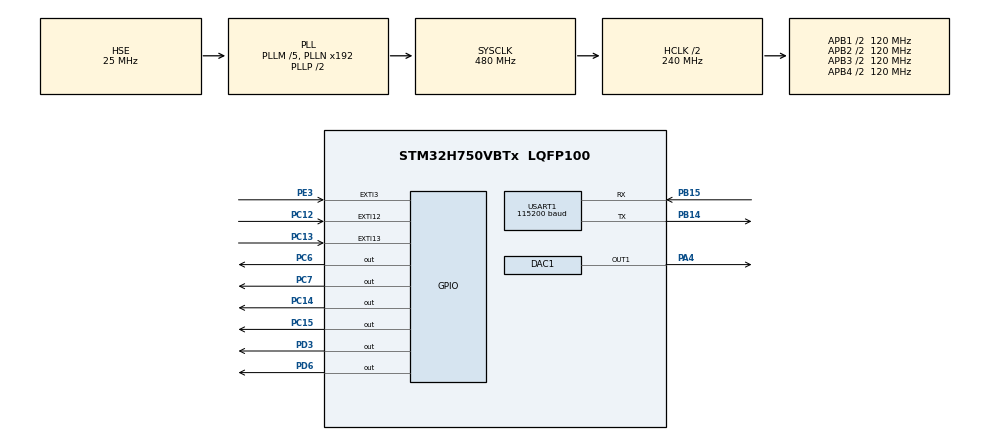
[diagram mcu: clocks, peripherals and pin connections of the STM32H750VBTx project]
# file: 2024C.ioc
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DAC1.DAC_Channel-DAC_OUT1=DAC_CHANNEL_1
LPTIM1.ClockPrescaler=LPTIM_PRESCALER_DIV128
LPTIM2.ClockPrescaler=LPTIM_PRESCALER_DIV128
Mcu.Family=STM32H7
Mcu.Name=STM32H750VBTx
Mcu.Package=LQFP100
NVIC.EXTI15_10_IRQn=true\:15\:0\:true\:false\:true\:true\:true\:true
NVIC.EXTI3_IRQn=true\:15\:0\:true\:false\:true\:true\:true\:true
NVIC.PriorityGroup=NVIC_PRIORITYGROUP_4
PA4.Signal=COMP_DAC11_group
PB14.Mode=Asynchronous
PB14.Signal=USART1_TX
PB15.Mode=Asynchronous
PB15.Signal=USART1_RX
PC12.GPIO_ModeDefaultEXTI=GPIO_MODE_IT_FALLING
PC12.Signal=GPXTI12
PC13.GPIO_ModeDefaultEXTI=GPIO_MODE_IT_FALLING
PC13.Signal=GPXTI13
PC14-OSC32_IN\ (OSC32_IN).Signal=GPIO_Output
PC15-OSC32_OUT\ (OSC32_OUT).Signal=GPIO_Output
PC6.Signal=GPIO_Output
PC7.Signal=GPIO_Output
PD3.Signal=GPIO_Output
PD6.Signal=GPIO_Output
PE3.GPIO_ModeDefaultEXTI=GPIO_MODE_IT_FALLING
PE3.Signal=GPXTI3
PH0-OSC_IN\ (PH0).Mode=HSE-External-Oscillator
PH0-OSC_IN\ (PH0).Signal=RCC_OSC_IN
PH1-OSC_OUT\ (PH1).Mode=HSE-External-Oscillator
PH1-OSC_OUT\ (PH1).Signal=RCC_OSC_OUT
ProjectManager.HeapSize=0x1000
ProjectManager.StackSize=0x20000
ProjectManager.TargetToolchain=MDK-ARM V5
RCC.ADCCLockSelection=RCC_ADCCLKSOURCE_PLL3
RCC.ADCFreq_Value=51200000
RCC.APB1Freq_Value=120000000
RCC.APB2Freq_Value=120000000
RCC.APB3Freq_Value=120000000
RCC.APB4Freq_Value=120000000
RCC.CKPERSourceSelection=RCC_CLKPSOURCE_CSI
RCC.CortexFreq_Value=480000000
RCC.D1PPRE=RCC_APB3_DIV2
RCC.D2PPRE1=RCC_APB1_DIV2
RCC.D2PPRE2=RCC_APB2_DIV2
RCC.D3PPRE=RCC_APB4_DIV2
RCC.DIVM1=5
RCC.DIVM2=25
RCC.DIVM3=25
RCC.DIVN1=192
RCC.DIVN2=240
RCC.DIVN3=256
RCC.DIVP3=10
RCC.DIVQ3=10
RCC.DIVR3=5
RCC.HCLKFreq_Value=240000000
RCC.HPRE=RCC_HCLK_DIV2
RCC.HRTIMCLockSelection=RCC_HRTIM1CLK_CPUCLK
RCC.LPTIM1CLockSelection=RCC_LPTIM1CLKSOURCE_CLKP
RCC.PLL2FRACN=0
RCC.PLL3FRACN=0
RCC.PLLFRACN=0
RCC.PLLSourceVirtual=RCC_PLLSOURCE_HSE
RCC.ProductRev=revV
RCC.SPI123CLockSelection=RCC_SPI123CLKSOURCE_PLL2
RCC.SYSCLKFreq_VALUE=480000000
RCC.SYSCLKSource=RCC_SYSCLKSOURCE_PLLCLK
RCC.USBFreq_Value=480000000
SH.COMP_DAC11_group.0=DAC1_OUT1,DAC_OUT1
TIM4.Prescaler=239
USART1.BaudRate=115200
USART1.Mode=MODE_TX
USART1.VirtualMode-Asynchronous=VM_ASYNC
VP_LPTIM1_VS_LPTIM_counterModeInternalClock.Mode=Counts__internal_clock_event_00
VP_LPTIM2_VS_LPTIM_counterModeInternalClock.Mode=Counts__internal_clock_event_00
VP_TIM4_VS_ClockSourceINT.Mode=Internal
VP_VREFBUF_V_VREFBUF.Mode=ExternalMode
board=custom

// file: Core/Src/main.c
/* USER CODE BEGIN Header */
/**
  ******************************************************************************
  * @file           : main.c
  * @brief          : Main program body
  ******************************************************************************
  * @attention
  *
  * Copyright (c) 2024 STMicroelectronics.
  * All rights reserved.
  *
  * This software is licensed under terms that can be found in the LICENSE file
  * in the root directory of this software component.
  * If no LICENSE file comes with this software, it is provided AS-IS.
  *
  ******************************************************************************
  */
/* USER CODE END Header */
#include "main.h"
#include "dac.h"
#include "lptim.h"
#include "tim.h"
#include "usart.h"
#include "gpio.h"

/* USER CODE BEGIN Includes */
#include "AD9959.h"
#include "HMC472.h"
#include "debug.h"
#include "ch455.h"
#include "delay.h"
/* USER CODE END Includes */

/* USER CODE BEGIN PTD */

#define PI 3.1415926535

// CW用下面这个数组
uint32_t vamp_L[11][10] = { {91,182,273,364,455,550,637,728,818,906}, //30MHz,vamp_L_f_i = 0
													 {90,182,272,363,454,545,634,724,813,903}, //31MHz,vamp_L_f_i = 1
												   {90,180,272,363,453,541,632,720,808,897}, //32MHz,vamp_L_f_i = 2
												   {90,180,272,360,451,532,625,716,806,896}, //33MHz,vamp_L_f_i = 3
													 {90,180,270,360,451,533,622,715,805,893}, //34MHz,vamp_L_f_i = 4
													 {90,180,270,360,449,533,622,712,802,892}, //35MHz,vamp_L_f_i = 5
													 {90,180,270,360,450,534,621,714,801,892}, //36MHz,vamp_L_f_i = 6
													 {90,181,271,361,451,534,621,712,801,892}, //37MHz,vamp_L_f_i = 7
													 {91,182,273,360,451,533,621,713,801,892}, //38MHz,vamp_L_f_i = 8
													 {91,183,275,360,450,533,621,713,801,892}, //39MHz,vamp_L_f_i = 9
													 {92,185,277,360,450,533,621,713,801,892}, //40MHz,vamp_L_f_i = 10
};
// 除了CW，都用下面这个数组
uint32_t vamp_L_hmc[11][10] = { {91,182,273,364,455,536,625,714,750,800}, //30MHz,vamp_L_f_i = 0
													 {90,182,272,362,454,534,622,710,750,800}, //31MHz,vamp_L_f_i = 1
												   {90,180,270,361,452,532,620,708,750,800}, //32MHz,vamp_L_f_i = 2
												   {90,180,269,360,451,530,619,706,750,800}, //33MHz,vamp_L_f_i = 3
													 {90,180,270,360,450,530,618,705,750,800}, //34MHz,vamp_L_f_i = 4
													 {90,180,270,360,450,530,618,705,750,800}, //35MHz,vamp_L_f_i = 5
													 {90,180,270,361,451,531,619,707,750,800}, //36MHz,vamp_L_f_i = 6
													 {90,181,271,362,453,533,621,710,750,800}, //37MHz,vamp_L_f_i = 7
													 {91,182,273,364,455,536,625,713,750,800}, //38MHz,vamp_L_f_i = 8
													 {91,183,275,367,458,540,630,719,750,800}, //39MHz,vamp_L_f_i = 9
													 {92,185,277,370,463,545,635,726,750,800}, //40MHz,vamp_L_f_i = 10
};
uint8_t vamp_L_f_i = 0; // 默认是30MHz
uint8_t vamp_L_i = 0;

uint32_t f_L = 30000000;

uint8_t deg[7] = {40,70,101,131,162,193,225}; // 40
//uint8_t deg[7] = {0,30,60,90,120,150,180}; //
uint8_t deg_i = 0;
uint8_t init_flag = 0;
uint8_t init_flag_delay = 0;

uint16_t attenuation = 0;
uint16_t attenuation_hmc= 0;
uint8_t  attenuation_real[11] = {0,2,4,6,8,10,12,14,16,18,20}; // 对应显示0db-20db衰减
uint8_t  attenuation_real_maxvamp[11] = {0,1,3,5,7,9,11,13,15,17,19}; // 最大有效值对应的数组
// 调试范围是0-31

uint8_t time_delay[7] = {0,78,111,139,167,195,222}; // ns级单位
uint8_t time_delay_i = 0;

//float adjust[7] = {0.45f,0.5f,0.6f,0.7f,0.85f,0.95f,1.1f};
float adjust[7] = {0.4f,0.45f,0.55f,0.65f,0.8f,0.9f,1.05f};
uint8_t adjust_i = 0;

float vp_B = 0.27f; // 峰值
#define VP_B 0.27f
#define DAC_VOLTAGE_DEFAULT 0.9f // vp_B / 0.3, max
uint16_t vamp_A_1 = 955.6667f * VP_B; // output1
uint16_t vamp_A_2 = 963.3333f * VP_B; //  output3
float dac_voltage = DAC_VOLTAGE_DEFAULT;
uint32_t dac_value = (uint32_t)(DAC_VOLTAGE_DEFAULT/3.3f*4095.0f); //dac code

float vamp_L_2_scale = 1.1667f;
uint32_t vamp_L_2 = 114;

float w_s_ns = 0; // 调制信号频率2MHz
float w_c_ns = 0;
uint32_t delay_phi_s = 0; // 以度为单位
uint32_t delay_phi_c = 0;

extern uint16_t CH455_KEY_RX_FLAG; //键盘接收状态标记
extern uint8_t CH455_KEY_NUM;			//按下键盘的值

uint8_t mode = 1; // 1是加法模式，0是减法模式，2是CW测量模式

/* USER CODE END PTD */

void SystemClock_Config(void);
void PeriphCommonClock_Config(void);

/* USER CODE BEGIN 0 */

uint32_t normalize_angle(uint32_t angle) {
    // 将角度限制在0到360之间
    angle = angle % 360;
    // 如果角度为负值，加360使其为正
    return angle;
}

void HAL_GPIO_EXTI_Callback(uint16_t GPIO_Pin){

		//注意要调整中断优先级使SYSTICK的高于按键中断
		HAL_Delay(50); //延时实现消抖，但在复杂程序不建议在中断中使用延时函数

		if (GPIO_Pin == GPIO_PIN_12){	// 判断中断来自于PC12管脚
				//判断PC12被按下
				if (GPIO_PIN_RESET == HAL_GPIO_ReadPin(GPIOC, GPIO_PIN_12)){
					HAL_GPIO_WritePin(GPIOD, GPIO_PIN_6, GPIO_PIN_SET);
					HAL_GPIO_WritePin(GPIOD, GPIO_PIN_3, GPIO_PIN_RESET);
					mode = 0;
					printf("t12.txt=\"- mode \"\xff\xff\xff");
				}
		}
		else if (GPIO_Pin == GPIO_PIN_3){	// 判断中断来自于PE3管脚
				if (GPIO_PIN_RESET == HAL_GPIO_ReadPin(GPIOC, GPIO_PIN_3)){
					HAL_GPIO_WritePin(GPIOD, GPIO_PIN_6, GPIO_PIN_RESET);
					HAL_GPIO_WritePin(GPIOD, GPIO_PIN_3, GPIO_PIN_SET);
					mode = 1;
					printf("t12.txt=\"+ mode \"\xff\xff\xff");
				}
		}
		else if (GPIO_Pin == GPIO_PIN_13){

			CH455_KEY_RX_FLAG = 1;

			CH455_KEY_NUM = CH455_Key_Read();

			if (CH455_KEY_NUM == 0){ // 调节RMS
				if (mode == 0){ // 减法模式
					HAL_GPIO_WritePin(GPIOD, GPIO_PIN_6, GPIO_PIN_RESET);
					HAL_Delay(100);
					HAL_GPIO_WritePin(GPIOD, GPIO_PIN_6, GPIO_PIN_SET);
					if(vamp_L_i - 1 > 0){
						vamp_L_i = vamp_L_i - 1;
					}
					else if(vamp_L_i == 0){
						vamp_L_i = 9;
					}
					else{
						vamp_L_i = 0;
					}
				}
				if (mode == 1 || mode == 2){ // 加法模式
					HAL_GPIO_WritePin(GPIOD, GPIO_PIN_3, GPIO_PIN_RESET);
					HAL_Delay(100);
					HAL_GPIO_WritePin(GPIOD, GPIO_PIN_3, GPIO_PIN_SET);
					if(vamp_L_i + 1 < 9){
						vamp_L_i = vamp_L_i + 1;
					}
					else if(vamp_L_i == 9){
						vamp_L_i = 0;
					}
					else{
						vamp_L_i = 9;
					}
				}
				if (mode != 2){
					vamp_L_2 = vamp_L_hmc[vamp_L_f_i][vamp_L_i] * vamp_L_2_scale;
					if (vamp_L_2 > 1022) {AD9959_SetAmp4Channel(vamp_L_hmc[vamp_L_f_i][vamp_L_i],vamp_A_1,1023,vamp_A_2);}
					else {AD9959_SetAmp4Channel(vamp_L_hmc[vamp_L_f_i][vamp_L_i],vamp_A_1,vamp_L_2,vamp_A_2);}
				}
				else{
					vamp_L_2 = vamp_L[vamp_L_f_i][vamp_L_i] * vamp_L_2_scale;
					if (vamp_L_2 > 1022) {AD9959_SetAmp4Channel(vamp_L[vamp_L_f_i][vamp_L_i],vamp_A_1,1023,vamp_A_2);}
					else {AD9959_SetAmp4Channel(vamp_L[vamp_L_f_i][vamp_L_i],vamp_A_1,vamp_L_2,vamp_A_2);}
				}
				printf("t6.txt=\"%d mV\"\xff\xff\xff",(vamp_L_i+1)*100);
			}
			if (CH455_KEY_NUM == 1){ // 调节调制，最好：500mV，30MHz
				if (mode == 0){ // 减法模式
					HAL_GPIO_WritePin(GPIOD, GPIO_PIN_6, GPIO_PIN_RESET);
					HAL_Delay(100);
					HAL_GPIO_WritePin(GPIOD, GPIO_PIN_6, GPIO_PIN_SET);
					if(adjust_i - 1 > 0){
						adjust_i = adjust_i - 1;
					}
					else if(adjust_i == 0){
						adjust_i = 6;
					}
					else{
						adjust_i = 0;
					}
				}
				if (mode == 1){ // 加法模式
					HAL_GPIO_WritePin(GPIOD, GPIO_PIN_3, GPIO_PIN_RESET);
					HAL_Delay(100);
					HAL_GPIO_WritePin(GPIOD, GPIO_PIN_3, GPIO_PIN_SET);
					if(adjust_i + 1 < 6){
						adjust_i = adjust_i + 1;
					}
					else if(adjust_i == 6){
						adjust_i = 0;
					}
					else{
						adjust_i = 6;
					}
				}
				dac_voltage = vp_B / adjust[adjust_i];
				if (dac_voltage > 3.3f) {dac_voltage = 3.3f;}
				dac_value = (uint32_t)(dac_voltage/3.3f*4095.0f);
				HAL_DAC_SetValue(&hdac1,DAC_CHANNEL_1,DAC_ALIGN_12B_R,dac_value);//channel 1 output

				printf("t7.txt=\"%d %% \"\xff\xff\xff",(adjust_i+3)*10);
			}
			if (CH455_KEY_NUM == 2){ // 调节频率
				if (mode == 0){ // 减法模式
					HAL_GPIO_WritePin(GPIOD, GPIO_PIN_6, GPIO_PIN_RESET);
					HAL_Delay(100);
					HAL_GPIO_WritePin(GPIOD, GPIO_PIN_6, GPIO_PIN_SET);
					if(f_L - 1000000 > 30000000){
						f_L = f_L - 1000000;
					}
					else if(f_L == 30000000){
						f_L = 40000000;
					}
					else{
						f_L = 30000000;
					}
				}
				if (mode == 1 || mode == 2){ // 加法模式
					HAL_GPIO_WritePin(GPIOD, GPIO_PIN_3, GPIO_PIN_RESET);
					HAL_Delay(100);
					HAL_GPIO_WritePin(GPIOD, GPIO_PIN_3, GPIO_PIN_SET);
					if(f_L + 1000000 < 40000000){
						f_L = f_L + 1000000;
					}
					else if(f_L == 40000000){
						f_L = 30000000;
					}
					else{
						f_L = 40000000;
					}
				}

				AD9959_SetFrequency4Channel(f_L,2000000,f_L,2000000);
				vamp_L_f_i = f_L/1000000 - 30;
				if (mode != 2){
					vamp_L_2 = vamp_L_hmc[vamp_L_f_i][vamp_L_i] * vamp_L_2_scale;
					if (vamp_L_2 > 1022) {AD9959_SetAmp4Channel(vamp_L_hmc[vamp_L_f_i][vamp_L_i],vamp_A_1,1023,vamp_A_2);}
					else {AD9959_SetAmp4Channel(vamp_L_hmc[vamp_L_f_i][vamp_L_i],vamp_A_1,vamp_L_2,vamp_A_2);}
				}
				else{
					vamp_L_2 = vamp_L[vamp_L_f_i][vamp_L_i] * vamp_L_2_scale;
					if (vamp_L_2 > 1022) {AD9959_SetAmp4Channel(vamp_L[vamp_L_f_i][vamp_L_i],vamp_A_1,1023,vamp_A_2);}
					else {AD9959_SetAmp4Channel(vamp_L[vamp_L_f_i][vamp_L_i],vamp_A_1,vamp_L_2,vamp_A_2);}
				}

				printf("t8.txt=\"%d MHz  \"\xff\xff\xff",f_L/1000000);
			}

			if (CH455_KEY_NUM == 3){ // 调节衰减db
				if (mode == 0){ // 减法模式
					HAL_GPIO_WritePin(GPIOD, GPIO_PIN_6, GPIO_PIN_RESET);
					HAL_Delay(100);
					HAL_GPIO_WritePin(GPIOD, GPIO_PIN_6, GPIO_PIN_SET);
					if(attenuation - 2 > 0){
						attenuation = attenuation - 2;
					}
					else if(attenuation == 0){
						attenuation = 20;
					}
					else{
						attenuation = 0;
					}
				}
				if (mode == 1){ // 加法模式
					HAL_GPIO_WritePin(GPIOD, GPIO_PIN_3, GPIO_PIN_RESET);
					HAL_Delay(100);
					HAL_GPIO_WritePin(GPIOD, GPIO_PIN_3, GPIO_PIN_SET);
					if(attenuation + 2 < 20){
						attenuation = attenuation + 2;
					}
					else if(attenuation == 20){
						attenuation = 0;
					}
					else{
						attenuation = 20;
					}
				}

				attenuation_hmc = attenuation_real[attenuation / 2] * 2;
				if(vamp_L_i == 9){attenuation_hmc = attenuation_real_maxvamp[attenuation / 2] * 2;}
				HMC472set(attenuation_hmc);

				printf("t9.txt=\"%d dB\"\xff\xff\xff",attenuation);
			}

			if (CH455_KEY_NUM == 4){ // 调节延迟
				if (mode == 0){ // 减法模式
					HAL_GPIO_WritePin(GPIOD, GPIO_PIN_6, GPIO_PIN_RESET);
					HAL_Delay(100);
					HAL_GPIO_WritePin(GPIOD, GPIO_PIN_6, GPIO_PIN_SET);
					if(time_delay_i > 0){
						time_delay_i = time_delay_i - 1;
					}
					else{
						time_delay_i = 6;
					}
				}
				if (mode == 1){ // 加法模式
					HAL_GPIO_WritePin(GPIOD, GPIO_PIN_3, GPIO_PIN_RESET);
					HAL_Delay(100);
					HAL_GPIO_WritePin(GPIOD, GPIO_PIN_3, GPIO_PIN_SET);
					if(time_delay_i < 6){
						time_delay_i = time_delay_i + 1;
					}
					else{
						time_delay_i = 0;
					}
				}
				w_s_ns = 2*2*0.001f; // 调制信号频率2MHz
				w_c_ns = 2*(f_L/1000000)*0.001f;
				delay_phi_s = w_s_ns * time_delay[time_delay_i] * 180; // 以度为单位
				delay_phi_c = w_c_ns * time_delay[time_delay_i] * 180;

				if (init_flag_delay){Init_AD9959();}

				delay_phi_s = normalize_angle(delay_phi_s);
				delay_phi_c = normalize_angle(delay_phi_c);

				AD9959_SetPhase4Channel(0,0,360-delay_phi_c,360-delay_phi_s);
				AD9959_SetFrequency4Channel(f_L,2000000,f_L,2000000);
				vamp_L_2 = vamp_L_hmc[vamp_L_f_i][vamp_L_i] * vamp_L_2_scale;
				if (vamp_L_2 > 1022) {AD9959_SetAmp4Channel(vamp_L_hmc[vamp_L_f_i][vamp_L_i],vamp_A_1,1023,vamp_A_2);}
				else {AD9959_SetAmp4Channel(vamp_L_hmc[vamp_L_f_i][vamp_L_i],vamp_A_1,vamp_L_2,vamp_A_2);}

				init_flag = 0;
				if (time_delay_i == 6){init_flag = 1;}

				if (time_delay_i == 0){printf("t10.txt=\"%d ns \"\xff\xff\xff",0);}
				else {printf("t10.txt=\"%d ns \"\xff\xff\xff",50+(time_delay_i-1)*30);}

			}

			if (CH455_KEY_NUM == 5){ // 调节相位
				if (mode == 0){ // 减法模式
					HAL_GPIO_WritePin(GPIOD, GPIO_PIN_6, GPIO_PIN_RESET);
					HAL_Delay(100);
					HAL_GPIO_WritePin(GPIOD, GPIO_PIN_6, GPIO_PIN_SET);
					if(deg_i - 1 > 0){
						deg_i = deg_i - 1;
					}
					else if(deg_i == 0){
						deg_i = 6;
					}
					else{
						deg_i = 0;
					}
				}
				if (mode == 1){ // 加法模式
					HAL_GPIO_WritePin(GPIOD, GPIO_PIN_3, GPIO_PIN_RESET);
					HAL_Delay(100);
					HAL_GPIO_WritePin(GPIOD, GPIO_PIN_3, GPIO_PIN_SET);
					if(deg_i + 1 < 6){
						deg_i = deg_i + 1;
					}
					else if(deg_i == 6){
						deg_i = 0;
					}
					else{
						deg_i = 6;
					}
				}

				if (init_flag){Init_AD9959();}

				AD9959_SetPhase4Channel(0,0,deg[deg_i],0);
				AD9959_SetFrequency4Channel(f_L,2000000,f_L,2000000);
				vamp_L_2 = vamp_L_hmc[vamp_L_f_i][vamp_L_i] * vamp_L_2_scale;
				if (vamp_L_2 > 1022) {AD9959_SetAmp4Channel(vamp_L_hmc[vamp_L_f_i][vamp_L_i],vamp_A_1,1023,vamp_A_2);}
				else {AD9959_SetAmp4Channel(vamp_L_hmc[vamp_L_f_i][vamp_L_i],vamp_A_1,vamp_L_2,vamp_A_2);}

				init_flag = 0;
				if (deg_i == 6){init_flag = 1;}

				printf("t11.txt=\"%d deg \"\xff\xff\xff",deg_i*30);
			}

			if (CH455_KEY_NUM == 15){ // 开启CW测量模式，直流偏置为2V
				uint8_t i;
				mode = 2;
				for (i = 0; i < 3; i++){
					HAL_GPIO_WritePin(GPIOD, GPIO_PIN_6, GPIO_PIN_SET);HAL_GPIO_WritePin(GPIOD, GPIO_PIN_3, GPIO_PIN_SET);
					HAL_Delay(100);
					HAL_GPIO_WritePin(GPIOD, GPIO_PIN_6, GPIO_PIN_RESET);HAL_GPIO_WritePin(GPIOD, GPIO_PIN_3, GPIO_PIN_RESET);
					HAL_Delay(100);
				}
				dac_voltage = 2.0f;
				dac_value = (uint32_t)(dac_voltage/3.3f*4095.0f);
				HAL_DAC_SetValue(&hdac1,DAC_CHANNEL_1,DAC_ALIGN_12B_R,dac_value);//channel 1 output

				vamp_A_1 = 0;
				AD9959_SetFrequency4Channel(f_L,2000000,f_L,2000000);
				vamp_L_f_i = f_L/1000000 - 30;
				vamp_L_2 = vamp_L[vamp_L_f_i][vamp_L_i] * vamp_L_2_scale;
				if (vamp_L_2 > 1022) {AD9959_SetAmp4Channel(vamp_L[vamp_L_f_i][vamp_L_i],vamp_A_1,1023,vamp_A_2);}
				else {AD9959_SetAmp4Channel(vamp_L[vamp_L_f_i][vamp_L_i],vamp_A_1,vamp_L_2,vamp_A_2);}

				printf("t12.txt=\"CW(+) mode \"\xff\xff\xff");
				printf("t6.txt=\"%d mV\"\xff\xff\xff",(vamp_L_i+1)*100);
				printf("t8.txt=\"%d MHz  \"\xff\xff\xff",f_L/1000000);
			}
//			__HAL_GPIO_EXTI_CLEAR_FLAG(GPIO_PIN_13);
		}
}

/* USER CODE END 0 */

int main(void)
{
	uint8_t i = 0;
  /* MCU Configuration--------------------------------------------------------*/

  /* Reset of all peripherals, Initializes the Flash interface and the Systick. */
  HAL_Init();

  /* Configure the system clock */
  SystemClock_Config();

/* Configure the peripherals common clocks */
  PeriphCommonClock_Config();

  /* Initialize all configured peripherals */
  MX_GPIO_Init();
  MX_USART1_UART_Init();
  MX_LPTIM1_Init();
  MX_LPTIM2_Init();
  MX_TIM4_Init();
  MX_DAC1_Init();
	HMC472_Init();
  /* USER CODE BEGIN 2 */
		for (int i = 0; i < 11; ++i) {
        for (int j = 0; j < 10; ++j) {
            vamp_L[i][j] = vamp_L[i][j] * 1.05f;
        }
    }
	HAL_DAC_Start(&hdac1,DAC_CHANNEL_1);//dac1 open
	HAL_DAC_SetValue(&hdac1,DAC_CHANNEL_1,DAC_ALIGN_12B_R,dac_value);//channel 1 output

	Init_AD9959();
	AD9959_SetPhase4Channel(0,0,deg[deg_i],0);
	AD9959_SetFrequency4Channel(f_L,2000000,f_L,2000000);
	vamp_L_2 = vamp_L_hmc[vamp_L_f_i][vamp_L_i] * vamp_L_2_scale;
	if (vamp_L_2 > 1022) {AD9959_SetAmp4Channel(vamp_L_hmc[vamp_L_f_i][vamp_L_i],vamp_A_1,1023,vamp_A_2);}
	else {AD9959_SetAmp4Channel(vamp_L_hmc[vamp_L_f_i][vamp_L_i],vamp_A_1,vamp_L_2,vamp_A_2);}

	if(vamp_L_i == 9){attenuation_hmc = attenuation_real_maxvamp[attenuation / 2] * 2;}
	attenuation_hmc = attenuation_real[attenuation / 2] * 2;
	HMC472set(attenuation_hmc);

	printf("t12.txt=\"+ mode \"\xff\xff\xff");
	printf("t6.txt=\"%d mV\"\xff\xff\xff",(vamp_L_i+1)*100);
	printf("t7.txt=\"%d %% \"\xff\xff\xff",(adjust_i+3)*10);
	printf("t8.txt=\"%d MHz  \"\xff\xff\xff",f_L/1000000);
	printf("t11.txt=\"%d deg \"\xff\xff\xff",deg_i*30);
	printf("t9.txt=\"%d dB\"\xff\xff\xff",attenuation);
	printf("t10.txt=\"%d ns \"\xff\xff\xff",0);

  for (i = 0; i < 3; i = i + 1){
		HAL_GPIO_WritePin(GPIOD, GPIO_PIN_3, GPIO_PIN_SET);HAL_GPIO_WritePin(GPIOD, GPIO_PIN_6, GPIO_PIN_SET);
		HAL_Delay(200);
		HAL_GPIO_WritePin(GPIOD, GPIO_PIN_3, GPIO_PIN_RESET);HAL_GPIO_WritePin(GPIOD, GPIO_PIN_6, GPIO_PIN_RESET);
		HAL_Delay(200);
	}

	delay_init(480);//延时函数初始化
	delay_ms(100);//100ms必须加，ch455上电后需要一段时间才能启动
	CH455_init();//ch455 初始化

	CH455_Display(1,1);//数码管1显示1
	CH455_Display(2,2);//数码管2显示2
	CH455_Display(3,3);//数码管3显示3
	CH455_Display(4,4);//数码管4显示4
  /* USER CODE END 2 */

  /* Infinite loop */
  /* USER CODE BEGIN WHILE */
	HAL_GPIO_WritePin(GPIOD, GPIO_PIN_6, GPIO_PIN_RESET);
	HAL_GPIO_WritePin(GPIOD, GPIO_PIN_3, GPIO_PIN_RESET);

	while (1)
  {
		if(CH455_KEY_RX_FLAG == 1)	//键盘按下，在终端中读取CH455寄存器完成后
		{
			CH455_Display(1,CH455_KEY_NUM);//数码管显示按键值
			CH455_Display(2,CH455_KEY_NUM);
			CH455_Display(3,CH455_KEY_NUM);
			CH455_Display(4,CH455_KEY_NUM);
			CH455_KEY_RX_FLAG = 0;
		}
		HAL_Delay(100);		//延时
    /* USER CODE END WHILE */

  }
}

void SystemClock_Config(void)
{
  RCC_OscInitTypeDef RCC_OscInitStruct = {0};
  RCC_ClkInitTypeDef RCC_ClkInitStruct = {0};

  /** Supply configuration update enable
  */
  HAL_PWREx_ConfigSupply(PWR_LDO_SUPPLY);
  /** Configure the main internal regulator output voltage
  */
  __HAL_PWR_VOLTAGESCALING_CONFIG(PWR_REGULATOR_VOLTAGE_SCALE0);

  while(!__HAL_PWR_GET_FLAG(PWR_FLAG_VOSRDY)) {}
  /** Initializes the RCC Oscillators according to the specified parameters
  * in the RCC_OscInitTypeDef structure.
  */
  RCC_OscInitStruct.OscillatorType = RCC_OSCILLATORTYPE_CSI|RCC_OSCILLATORTYPE_HSE;
  RCC_OscInitStruct.HSEState = RCC_HSE_ON;
  RCC_OscInitStruct.CSIState = RCC_CSI_ON;
  RCC_OscInitStruct.CSICalibrationValue = RCC_CSICALIBRATION_DEFAULT;
  RCC_OscInitStruct.PLL.PLLState = RCC_PLL_ON;
  RCC_OscInitStruct.PLL.PLLSource = RCC_PLLSOURCE_HSE;
  RCC_OscInitStruct.PLL.PLLM = 5;
  RCC_OscInitStruct.PLL.PLLN = 192;
  RCC_OscInitStruct.PLL.PLLP = 2;
  RCC_OscInitStruct.PLL.PLLQ = 2;
  RCC_OscInitStruct.PLL.PLLR = 2;
  RCC_OscInitStruct.PLL.PLLRGE = RCC_PLL1VCIRANGE_2;
  RCC_OscInitStruct.PLL.PLLVCOSEL = RCC_PLL1VCOWIDE;
  RCC_OscInitStruct.PLL.PLLFRACN = 0;
  if (HAL_RCC_OscConfig(&RCC_OscInitStruct) != HAL_OK)
  {
    Error_Handler();
  }
  /** Initializes the CPU, AHB and APB buses clocks
  */
  RCC_ClkInitStruct.ClockType = RCC_CLOCKTYPE_HCLK|RCC_CLOCKTYPE_SYSCLK
                              |RCC_CLOCKTYPE_PCLK1|RCC_CLOCKTYPE_PCLK2
                              |RCC_CLOCKTYPE_D3PCLK1|RCC_CLOCKTYPE_D1PCLK1;
  RCC_ClkInitStruct.SYSCLKSource = RCC_SYSCLKSOURCE_PLLCLK;
  RCC_ClkInitStruct.SYSCLKDivider = RCC_SYSCLK_DIV1;
  RCC_ClkInitStruct.AHBCLKDivider = RCC_HCLK_DIV2;
  RCC_ClkInitStruct.APB3CLKDivider = RCC_APB3_DIV2;
  RCC_ClkInitStruct.APB1CLKDivider = RCC_APB1_DIV2;
  RCC_ClkInitStruct.APB2CLKDivider = RCC_APB2_DIV2;
  RCC_ClkInitStruct.APB4CLKDivider = RCC_APB4_DIV2;

  if (HAL_RCC_ClockConfig(&RCC_ClkInitStruct, FLASH_LATENCY_4) != HAL_OK)
  {
    Error_Handler();
  }
}

void PeriphCommonClock_Config(void)
{
  RCC_PeriphCLKInitTypeDef PeriphClkInitStruct = {0};

  /** Initializes the peripherals clock
  */
  PeriphClkInitStruct.PeriphClockSelection = RCC_PERIPHCLK_CKPER;
  PeriphClkInitStruct.CkperClockSelection = RCC_CLKPSOURCE_CSI;
  if (HAL_RCCEx_PeriphCLKConfig(&PeriphClkInitStruct) != HAL_OK)
  {
    Error_Handler();
  }
}

void Error_Handler(void)
{
  __disable_irq();
  while (1)
  {
  }
}

/************************ (C) COPYRIGHT STMicroelectronics *****END OF FILE****/
